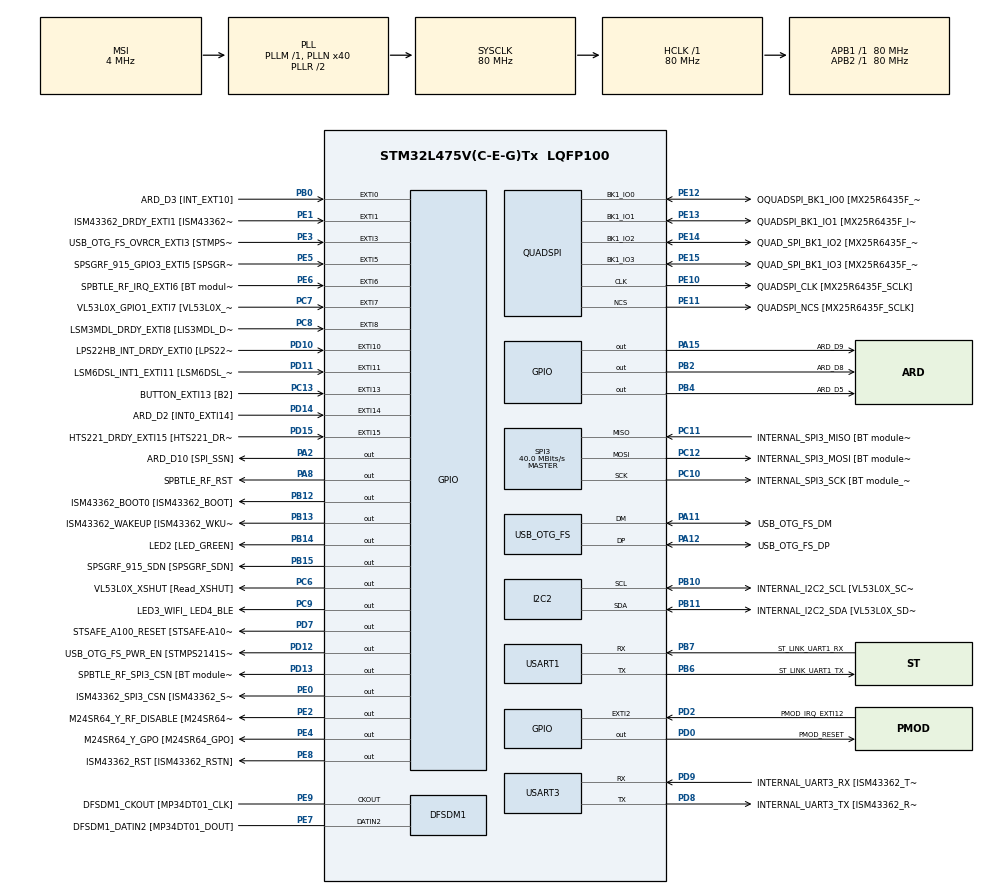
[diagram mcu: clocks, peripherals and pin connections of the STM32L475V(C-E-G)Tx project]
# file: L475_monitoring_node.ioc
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FREERTOS.Queues01=measuresQueue,3,uintptr_t,0,Dynamic,NULL,NULL;receiveQueue,3,char,0,Dynamic,NULL,NULL;printQueue,8,uintptr_t,0,Dynamic,NULL,NULL
FREERTOS.Tasks01=networkSetup,16,512,networkSetupTask,Default,NULL,Dynamic,NULL,NULL;stopWatch,40,256,stopWatchTask,Default,NULL,Dynamic,NULL,NULL;collectMeasures,32,1024,collectMeasuresTask,Default,NULL,Dynamic,NULL,NULL;MQTTPublish,8,256,MQTTPublishTask,Default,NULL,Dynamic,NULL,NULL;inputConfig,42,256,inputConfigTask,Default,NULL,Dynamic,NULL,NULL;printUART,41,128,printUARTTask,Default,NULL,Dynamic,NULL,NULL
FREERTOS.configTOTAL_HEAP_SIZE=10000
FREERTOS.configUSE_NEWLIB_REENTRANT=1
Mcu.Family=STM32L4
Mcu.Name=STM32L475V(C-E-G)Tx
Mcu.Package=LQFP100
NVIC.EXTI15_10_IRQn=true\:5\:0\:false\:false\:true\:true\:true\:true\:true
NVIC.EXTI1_IRQn=true\:5\:0\:false\:false\:true\:false\:true\:true\:true
NVIC.EXTI9_5_IRQn=true\:5\:0\:false\:false\:true\:true\:true\:true\:true
NVIC.PriorityGroup=NVIC_PRIORITYGROUP_4
NVIC.SPI3_IRQn=true\:5\:0\:false\:false\:false\:false\:true\:true\:true
NVIC.TIM6_DAC_IRQn=true\:15\:0\:false\:false\:true\:false\:false\:true\:true
NVIC.TimeBase=TIM6_DAC_IRQn
NVIC.TimeBaseIP=TIM6
NVIC.USART1_IRQn=true\:5\:0\:false\:false\:true\:true\:true\:true\:true
PA0.GPIO_Label=ARD_D1 [UART4_TX]
PA0.Signal=UART4_TX
PA1.GPIO_Label=ARD_D0 [UART4_RX]
PA1.Signal=UART4_RX
PA10.GPIO_Label=USB_OTG_FS_ID
PA10.Signal=USB_OTG_FS_ID
PA11.GPIO_Label=USB_OTG_FS_DM
PA11.Mode=Device_Only
PA11.Signal=USB_OTG_FS_DM
PA12.GPIO_Label=USB_OTG_FS_DP
PA12.Mode=Device_Only
PA12.Signal=USB_OTG_FS_DP
PA13\ (JTMS-SWDIO).GPIO_Label=SYS_JTMS_SWDIO
PA13\ (JTMS-SWDIO).Mode=Trace_Asynchronous_SW
PA13\ (JTMS-SWDIO).Signal=SYS_JTMS-SWDIO
PA14\ (JTCK-SWCLK).GPIO_Label=SYS_JTCK_SWCLK
PA14\ (JTCK-SWCLK).Mode=Trace_Asynchronous_SW
PA14\ (JTCK-SWCLK).Signal=SYS_JTCK-SWCLK
PA15\ (JTDI).GPIO_Label=ARD_D9
PA15\ (JTDI).Signal=GPIO_Output
PA2.GPIO_Label=ARD_D10 [SPI_SSN]
PA2.Signal=GPIO_Output
PA3.GPIO_Label=ARD_D4
PA3.Signal=S_TIM2_CH4
PA4.GPIO_Label=ARD_D7
PA4.Signal=ADCx_IN9
PA5.GPIO_Label=ARD_D13 [SPI1_SCK]
PA5.Signal=SPI1_SCK
PA6.GPIO_Label=ARD_D12 [SPI1_MISO]
PA6.Signal=SPI1_MISO
PA7.GPIO_Label=ARD_D11 [SPI1_MOSI]
PA7.Signal=SPI1_MOSI
PA8.GPIO_Label=SPBTLE_RF_RST
PA8.Signal=GPIO_Output
PA9.GPIO_Label=USB_OTG_FS_VBUS [STMPS2141STR_OUT]
PA9.Signal=USB_OTG_FS_VBUS
PB0.GPIO_Label=ARD_D3 [INT_EXT10]
PB0.Signal=GPXTI0
PB1.GPIO_Label=ARD_D6 [ADC1_IN6]
PB1.Signal=ADCx_IN16
PB10.GPIO_Label=INTERNAL_I2C2_SCL [VL53L0X_SCL]
PB10.GPIO_Pu=GPIO_PULLUP
PB10.Mode=I2C
PB10.Signal=I2C2_SCL
PB11.GPIO_Label=INTERNAL_I2C2_SDA [VL53L0X_SDA]
PB11.GPIO_Pu=GPIO_PULLUP
PB11.Mode=I2C
PB11.Signal=I2C2_SDA
PB12.GPIO_Label=ISM43362_BOOT0 [ISM43362_BOOT]
PB12.Signal=GPIO_Output
PB13.GPIO_Label=ISM43362_WAKEUP [ISM43362_WKUP]
PB13.Signal=GPIO_Output
PB14.GPIO_Label=LED2 [LED_GREEN]
PB14.Signal=GPIO_Output
PB15.GPIO_Label=SPSGRF_915_SDN [SPSGRF_SDN]
PB15.Signal=GPIO_Output
PB2.GPIO_Label=ARD_D8
PB2.Signal=GPIO_Output
PB3\ (JTDO-TRACESWO).GPIO_Label=SYS_JTD0_SWO
PB3\ (JTDO-TRACESWO).Mode=Trace_Asynchronous_SW
PB3\ (JTDO-TRACESWO).Signal=SYS_JTDO-SWO
PB4\ (NJTRST).GPIO_Label=ARD_D5
PB4\ (NJTRST).Signal=GPIO_Output
PB6.GPIO_Label=ST_LINK_UART1_TX
PB6.Mode=Asynchronous
PB6.Signal=USART1_TX
PB7.GPIO_Label=ST_LINK_UART1_RX
PB7.Mode=Asynchronous
PB7.Signal=USART1_RX
PB8.GPIO_Label=ARD_D15 [I2C1_SCL]
PB8.Signal=I2C1_SCL
PB9.GPIO_Label=ARD_D14 [I2C1_SDA]
PB9.Signal=I2C1_SDA
PC0.GPIO_Label=ARD_A5 [ADC]
PC0.Signal=ADCx_IN1
PC1.GPIO_Label=ARD_A4 [ADC]
PC1.Signal=ADCx_IN2
PC10.GPIO_Label=INTERNAL_SPI3_SCK [BT module_SPI_SCLK] [ISM43362_SCK]
PC10.Mode=Full_Duplex_Master
PC10.Signal=SPI3_SCK
PC11.GPIO_Label=INTERNAL_SPI3_MISO [BT module_SPI_MISO] [ISM43362_MISO]
PC11.Mode=Full_Duplex_Master
PC11.Signal=SPI3_MISO
PC12.GPIO_Label=INTERNAL_SPI3_MOSI [BT module_SPI_MOSI] [ISM43362_MOSI]
PC12.Mode=Full_Duplex_Master
PC12.Signal=SPI3_MOSI
PC13.GPIO_Label=BUTTON_EXTI13 [B2]
PC13.GPIO_ModeDefaultEXTI=GPIO_MODE_IT_FALLING
PC13.Signal=GPXTI13
PC14-OSC32_IN\ (PC14).Mode=LSE-External-Oscillator
PC14-OSC32_IN\ (PC14).Signal=RCC_OSC32_IN
PC15-OSC32_OUT\ (PC15).Mode=LSE-External-Oscillator
PC15-OSC32_OUT\ (PC15).Signal=RCC_OSC32_OUT
PC2.GPIO_Label=ARD_A3 [ADC]
PC2.Signal=ADCx_IN3
PC3.GPIO_Label=ARD_A2 [ADC]
PC3.Signal=ADCx_IN4
PC4.GPIO_Label=ARD_A1 [ADC]
PC4.Signal=ADCx_IN13
PC5.GPIO_Label=ARD_A0 [ADC]
PC5.Signal=ADCx_IN14
PC6.GPIO_Label=VL53L0X_XSHUT [Read_XSHUT]
PC6.Signal=GPIO_Output
PC7.GPIO_Label=VL53L0X_GPIO1_EXTI7 [VL53L0X_GPIO1]
PC7.Signal=GPXTI7
PC8.GPIO_Label=LSM3MDL_DRDY_EXTI8 [LIS3MDL_DRDY]
PC8.Signal=GPXTI8
PC9.GPIO_Label=LED3_WIFI_ LED4_BLE
PC9.Signal=GPIO_Output
PD0.GPIO_Label=PMOD_RESET
PD0.Signal=GPIO_Output
PD1.GPIO_Label=PMOD_SPI2_SCK
PD1.Signal=SPI2_SCK
PD10.GPIO_Label=LPS22HB_INT_DRDY_EXTI0 [LPS22HB_INT_DRDY] 
PD10.Signal=GPXTI10
PD11.GPIO_Label=LSM6DSL_INT1_EXTI11 [LSM6DSL_INT1]
PD11.Signal=GPXTI11
PD12.GPIO_Label=USB_OTG_FS_PWR_EN [STMPS2141STR_EN]
PD12.Signal=GPIO_Output
PD13.GPIO_Label=SPBTLE_RF_SPI3_CSN [BT module_SPI_CS]
PD13.PinState=GPIO_PIN_SET
PD13.Signal=GPIO_Output
PD14.GPIO_Label=ARD_D2 [INT0_EXTI14]
PD14.Signal=GPXTI14
PD15.GPIO_Label=HTS221_DRDY_EXTI15 [HTS221_DRDY]
PD15.Signal=GPXTI15
PD2.GPIO_Label=PMOD_IRQ_EXTI12
PD2.Signal=GPXTI2
PD3.GPIO_Label=PMOD_UART2_CTS
PD3.Signal=USART2_CTS
PD4.GPIO_Label=PMOD_UART2_RTS
PD4.Signal=USART2_RTS
PD5.GPIO_Label=PMOD_UART2_TX
PD5.Signal=USART2_TX
PD6.GPIO_Label=PMOD_UART2_RX
PD6.Signal=USART2_RX
PD7.GPIO_Label=STSAFE_A100_RESET [STSAFE-A100_RESET]
PD7.Signal=GPIO_Output
PD8.GPIO_Label=INTERNAL_UART3_TX [ISM43362_RX]
PD8.Mode=Asynchronous
PD8.Signal=USART3_TX
PD9.GPIO_Label=INTERNAL_UART3_RX [ISM43362_TX]
PD9.Mode=Asynchronous
PD9.Signal=USART3_RX
PE0.GPIO_Label=ISM43362_SPI3_CSN [ISM43362_SSN]
PE0.PinState=GPIO_PIN_SET
PE0.Signal=GPIO_Output
PE1.GPIO_Label=ISM43362_DRDY_EXTI1 [ISM43362_DATARDY]
PE1.Signal=GPXTI1
PE10.GPIO_Label=QUADSPI_CLK [MX25R6435F_SCLK]
PE10.Mode=Single Bank
PE10.Signal=QUADSPI_CLK
PE11.GPIO_Label=QUADSPI_NCS [MX25R6435F_SCLK]
PE11.Mode=Single Bank
PE11.Signal=QUADSPI_NCS
PE12.GPIO_Label=OQUADSPI_BK1_IO0 [MX25R6435F_IO0]
PE12.Mode=Single Bank
PE12.Signal=QUADSPI_BK1_IO0
PE13.GPIO_Label=QUADSPI_BK1_IO1 [MX25R6435F_IO1]
PE13.Mode=Single Bank
PE13.Signal=QUADSPI_BK1_IO1
PE14.GPIO_Label=QUAD_SPI_BK1_IO2 [MX25R6435F_IO2]
PE14.Mode=Single Bank
PE14.Signal=QUADSPI_BK1_IO2
PE15.GPIO_Label=QUAD_SPI_BK1_IO3 [MX25R6435F_IO3]
PE15.Mode=Single Bank
PE15.Signal=QUADSPI_BK1_IO3
PE2.GPIO_Label=M24SR64_Y_RF_DISABLE [M24SR64_RFDIS]
PE2.Signal=GPIO_Output
PE3.GPIO_Label=USB_OTG_FS_OVRCR_EXTI3 [STMPS2141STR_FAULT]
PE3.Signal=GPXTI3
PE4.GPIO_Label=M24SR64_Y_GPO [M24SR64_GPO]
PE4.Signal=GPIO_Output
PE5.GPIO_Label=SPSGRF_915_GPIO3_EXTI5 [SPSGRF_GPIO_3]
PE5.Signal=GPXTI5
PE6.GPIO_Label=SPBTLE_RF_IRQ_EXTI6 [BT module_SPI_IRQ]
PE6.Signal=GPXTI6
PE7.GPIO_Label=DFSDM1_DATIN2 [MP34DT01_DOUT]
PE7.Signal=S_DATAIN2DFSDM1
PE8.GPIO_Label=ISM43362_RST [ISM43362_RSTN]
PE8.Signal=GPIO_Output
PE9.GPIO_Label=DFSDM1_CKOUT [MP34DT01_CLK]
PE9.Signal=S_CKOUTDFSDM1
ProjectManager.HeapSize=0x200
ProjectManager.StackSize=0x400
ProjectManager.TargetToolchain=STM32CubeIDE
QUADSPI.ClockPrescaler=2
QUADSPI.FifoThreshold=4
QUADSPI.FlashSize=23
QUADSPI.SampleShifting=QSPI_SAMPLE_SHIFTING_HALFCYCLE
RCC.ADCFreq_Value=48000000
RCC.AHBFreq_Value=80000000
RCC.APB1Freq_Value=80000000
RCC.APB1TimFreq_Value=80000000
RCC.APB2Freq_Value=80000000
RCC.APB2TimFreq_Value=80000000
RCC.CortexFreq_Value=80000000
RCC.HCLKFreq_Value=80000000
RCC.HSE_VALUE=8000000
RCC.HSI_VALUE=16000000
RCC.MSI_VALUE=4000000
RCC.PLLN=40
RCC.PLLSAI1N=24
RCC.SYSCLKFreq_VALUE=80000000
RCC.SYSCLKSource=RCC_SYSCLKSOURCE_PLLCLK
RCC.USBFreq_Value=48000000
RCC.VCOOutputFreq_Value=160000000
RTC.Format=RTC_FORMAT_BIN
RTC.Hours=12
RTC.Minutes=30
RTC.Seconds=35
SH.ADCx_IN1.0=ADC1_IN1
SH.ADCx_IN13.0=ADC1_IN13
SH.ADCx_IN14.0=ADC1_IN14
SH.ADCx_IN16.0=ADC1_IN16
SH.ADCx_IN2.0=ADC1_IN2
SH.ADCx_IN3.0=ADC1_IN3
SH.ADCx_IN4.0=ADC1_IN4
SH.ADCx_IN9.0=ADC1_IN9
SH.S_CKOUTDFSDM1.0=DFSDM1_CKOUT,CKOUT
SH.S_CKOUTDFSDM1.1=DFSDM1_CKOUT,PDM_SPI_Input_from_ch12_and_Internal_Clock
SH.S_DATAIN2DFSDM1.0=DFSDM1_DATIN2,PDM_SPI_Input_from_ch12_and_Internal_Clock
SH.S_TIM2_CH4.0=TIM2_CH4
SPI3.CalculateBaudRate=40.0 MBits/s
SPI3.Direction=SPI_DIRECTION_2LINES
SPI3.Mode=SPI_MODE_MASTER
SPI3.VirtualType=VM_MASTER
USART1.VirtualMode-Asynchronous=VM_ASYNC
USART3.VirtualMode-Asynchronous=VM_ASYNC
USB_OTG_FS.VirtualMode=Device_Only
VP_FREERTOS_VS_CMSIS_V2.Mode=CMSIS_V2
VP_RTC_VS_RTC_Activate.Mode=RTC_Enabled
VP_RTC_VS_RTC_Calendar.Mode=RTC_Calendar
VP_SYS_VS_tim6.Mode=TIM6
board=B-L475E-IOT01A2

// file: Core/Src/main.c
/* USER CODE BEGIN Header */
/**
  ******************************************************************************
  * @file           : main.c
  * @brief          : Main program body
  ******************************************************************************
  * @attention
  *
  * Copyright (c) 2023 STMicroelectronics.
  * All rights reserved.
  *
  * This software is licensed under terms that can be found in the LICENSE file
  * in the root directory of this software component.
  * If no LICENSE file comes with this software, it is provided AS-IS.
  *
  ******************************************************************************
  */
/* USER CODE END Header */
#include "main.h"
#include "cmsis_os.h"

/* USER CODE BEGIN Includes */
#include "stdio.h"
#include "es_wifi.h"
#include "wifi.h"
#include "mqtt_priv.h"
// Drivers
#include "stm32l475e_iot01.h"
#include "stm32l475e_iot01_accelero.h"
#include "stm32l475e_iot01_gyro.h"
#include "stm32l475e_iot01_hsensor.h"
#include "stm32l475e_iot01_tsensor.h"
// Otros
#include <math.h>
#include <string.h>

/* USER CODE END Includes */

/* USER CODE BEGIN PM */
#define SSID     "DIGIFIBRA-HAeH"
#define PASSWORD "uxHXKubx5D"
#define WIFISECURITY WIFI_ECN_WPA2_PSK
#define SOCKET 0
#define WIFI_WRITE_TIMEOUT 10
#define WIFI_READ_TIMEOUT 10
/* USER CODE END PM */

DFSDM_Channel_HandleTypeDef hdfsdm1_channel1;

I2C_HandleTypeDef hi2c2;

QSPI_HandleTypeDef hqspi;

RTC_HandleTypeDef hrtc;

SPI_HandleTypeDef hspi3;

UART_HandleTypeDef huart1;
UART_HandleTypeDef huart3;

PCD_HandleTypeDef hpcd_USB_OTG_FS;

/* Definitions for networkSetup */
osThreadId_t networkSetupHandle;
const osThreadAttr_t networkSetup_attributes = {
  .name = "networkSetup",
  .stack_size = 512 * 4,
  .priority = (osPriority_t) osPriorityBelowNormal,
};
/* Definitions for stopWatch */
osThreadId_t stopWatchHandle;
const osThreadAttr_t stopWatch_attributes = {
  .name = "stopWatch",
  .stack_size = 256 * 4,
  .priority = (osPriority_t) osPriorityHigh,
};
/* Definitions for collectMeasures */
osThreadId_t collectMeasuresHandle;
const osThreadAttr_t collectMeasures_attributes = {
  .name = "collectMeasures",
  .stack_size = 1024 * 4,
  .priority = (osPriority_t) osPriorityAboveNormal,
};
/* Definitions for MQTTPublish */
osThreadId_t MQTTPublishHandle;
const osThreadAttr_t MQTTPublish_attributes = {
  .name = "MQTTPublish",
  .stack_size = 256 * 4,
  .priority = (osPriority_t) osPriorityLow,
};
/* Definitions for inputConfig */
osThreadId_t inputConfigHandle;
const osThreadAttr_t inputConfig_attributes = {
  .name = "inputConfig",
  .stack_size = 256 * 4,
  .priority = (osPriority_t) osPriorityHigh2,
};
/* Definitions for printUART */
osThreadId_t printUARTHandle;
const osThreadAttr_t printUART_attributes = {
  .name = "printUART",
  .stack_size = 128 * 4,
  .priority = (osPriority_t) osPriorityHigh1,
};
/* Definitions for measuresQueue */
osMessageQueueId_t measuresQueueHandle;
const osMessageQueueAttr_t measuresQueue_attributes = {
  .name = "measuresQueue"
};
/* Definitions for receiveQueue */
osMessageQueueId_t receiveQueueHandle;
const osMessageQueueAttr_t receiveQueue_attributes = {
  .name = "receiveQueue"
};
/* Definitions for printQueue */
osMessageQueueId_t printQueueHandle;
const osMessageQueueAttr_t printQueue_attributes = {
  .name = "printQueue"
};
/* USER CODE BEGIN PV */
extern  SPI_HandleTypeDef hspi;
static  uint8_t  IP_Addr[4];
static uint8_t operationMode;						/* Modo de operacion: normal/alarma*/
static NetworkContext_t xNetworkContext = { 0 };
static MQTTContext_t xMQTTContext;

bool ctrlAcceleration = false; /* Controla el envío de la notificación en el callback de la interrupción del acelerómetro*/

uint8_t drdyPulsedCfg = 0;
uint8_t ctrlDrdy = 0;
uint8_t ctrlMaster = 0;

uint8_t rec_data;		/* Almacena el caracter recibido por UART */
RTC_DateTypeDef GetDate; 		/* Estructura para fijar/leer fecha */
RTC_TimeTypeDef GetTime;		/* Estructura para fijar/leer hora */

/* USER CODE END PV */

void SystemClock_Config(void);
static void MX_GPIO_Init(void);
static void MX_DFSDM1_Init(void);
static void MX_I2C2_Init(void);
static void MX_QUADSPI_Init(void);
static void MX_SPI3_Init(void);
static void MX_USART1_UART_Init(void);
static void MX_USART3_UART_Init(void);
static void MX_USB_OTG_FS_PCD_Init(void);
static void MX_RTC_Init(void);
void networkSetupTask(void *argument);
void stopWatchTask(void *argument);
void collectMeasuresTask(void *argument);
void MQTTPublishTask(void *argument);
void inputConfigTask(void *argument);
void printUARTTask(void *argument);

/* USER CODE BEGIN PFP */
void LSM6DSL_AccInt_Drdy(void);							/* Función para la activación de la interrupción Data Ready */
void HAL_GPIO_EXTI_Callback(uint16_t GPIO_Pin);			/* Función para el callback de la interrupción */

/* USER CODE END PFP */

/* USER CODE BEGIN 0 */
void osMessageQueuePutChecker(char *nombre_tarea, char *nombre_cola, osStatus_t estado);
void leerDatosCola(char * recibido);
uint8_t extraerNumero(char *digitos, uint8_t *rango);
void publishMeasurements(char *accel_x, char *accel_y, char *accel_z, char *humedad, char *temperatura);
void separarCadena(char *cadena, char *delimitador, char *partes[], int numPartes);
void MQTTSubTask(void);

/* USER CODE END 0 */

int main(void)
{

  /* MCU Configuration--------------------------------------------------------*/

  /* Reset of all peripherals, Initializes the Flash interface and the Systick. */
  HAL_Init();

  /* Configure the system clock */
  SystemClock_Config();

  /* Initialize all configured peripherals */
  MX_GPIO_Init();
  MX_DFSDM1_Init();
  MX_I2C2_Init();
  MX_QUADSPI_Init();
  MX_SPI3_Init();
  MX_USART1_UART_Init();
  MX_USART3_UART_Init();
  MX_USB_OTG_FS_PCD_Init();
  MX_RTC_Init();
  /* USER CODE BEGIN 2 */
  printf("****** Sistemas Ciberfisicos ****** \n\n");
  // Activamos la interrupcion UART_RECEIVE antes de arrancar el scheduler
  HAL_UART_Receive_IT(&huart1, &rec_data, 1);

  printf("----> Inicializando el sensor LSM6DSL\r\n");
  BSP_ACCELERO_Init();									        /* Inicialización del acelerómetro */
  LSM6DSL_AccInt_Drdy();										/* Configuración del acelerómetro*/
  BSP_ACCELERO_LowPower(0);										/* Deshabilitado del modo de bajo consumo*/
  printf("----> Sensor LSM6DSL inicializado\r\n");

  /* USER CODE END 2 */

  /* Init scheduler */
  osKernelInitialize();

  /* Create the queue(s) */
  /* creation of measuresQueue */
  measuresQueueHandle = osMessageQueueNew (3, sizeof(uintptr_t), &measuresQueue_attributes);

  /* creation of receiveQueue */
  receiveQueueHandle = osMessageQueueNew (3, sizeof(char), &receiveQueue_attributes);

  /* creation of printQueue */
  printQueueHandle = osMessageQueueNew (8, sizeof(uintptr_t), &printQueue_attributes);

  /* Create the thread(s) */
  /* creation of networkSetup */
  networkSetupHandle = osThreadNew(networkSetupTask, NULL, &networkSetup_attributes);

  /* creation of stopWatch */
  stopWatchHandle = osThreadNew(stopWatchTask, NULL, &stopWatch_attributes);

  /* creation of collectMeasures */
  collectMeasuresHandle = osThreadNew(collectMeasuresTask, NULL, &collectMeasures_attributes);

  /* creation of MQTTPublish */
  MQTTPublishHandle = osThreadNew(MQTTPublishTask, NULL, &MQTTPublish_attributes);

  /* creation of inputConfig */
  inputConfigHandle = osThreadNew(inputConfigTask, NULL, &inputConfig_attributes);

  /* creation of printUART */
  printUARTHandle = osThreadNew(printUARTTask, NULL, &printUART_attributes);

  /* Start scheduler */
  osKernelStart();

  /* We should never get here as control is now taken by the scheduler */
  /* Infinite loop */
  while (1)
  {

  }
}

void SystemClock_Config(void)
{
  RCC_OscInitTypeDef RCC_OscInitStruct = {0};
  RCC_ClkInitTypeDef RCC_ClkInitStruct = {0};

  /** Configure the main internal regulator output voltage
  */
  if (HAL_PWREx_ControlVoltageScaling(PWR_REGULATOR_VOLTAGE_SCALE1) != HAL_OK)
  {
    Error_Handler();
  }

  /** Configure LSE Drive Capability
  */
  HAL_PWR_EnableBkUpAccess();
  __HAL_RCC_LSEDRIVE_CONFIG(RCC_LSEDRIVE_LOW);

  /** Initializes the RCC Oscillators according to the specified parameters
  * in the RCC_OscInitTypeDef structure.
  */
  RCC_OscInitStruct.OscillatorType = RCC_OSCILLATORTYPE_LSI|RCC_OSCILLATORTYPE_LSE
                              |RCC_OSCILLATORTYPE_MSI;
  RCC_OscInitStruct.LSEState = RCC_LSE_ON;
  RCC_OscInitStruct.LSIState = RCC_LSI_ON;
  RCC_OscInitStruct.MSIState = RCC_MSI_ON;
  RCC_OscInitStruct.MSICalibrationValue = 0;
  RCC_OscInitStruct.MSIClockRange = RCC_MSIRANGE_6;
  RCC_OscInitStruct.PLL.PLLState = RCC_PLL_ON;
  RCC_OscInitStruct.PLL.PLLSource = RCC_PLLSOURCE_MSI;
  RCC_OscInitStruct.PLL.PLLM = 1;
  RCC_OscInitStruct.PLL.PLLN = 40;
  RCC_OscInitStruct.PLL.PLLP = RCC_PLLP_DIV7;
  RCC_OscInitStruct.PLL.PLLQ = RCC_PLLQ_DIV2;
  RCC_OscInitStruct.PLL.PLLR = RCC_PLLR_DIV2;
  if (HAL_RCC_OscConfig(&RCC_OscInitStruct) != HAL_OK)
  {
    Error_Handler();
  }

  /** Initializes the CPU, AHB and APB buses clocks
  */
  RCC_ClkInitStruct.ClockType = RCC_CLOCKTYPE_HCLK|RCC_CLOCKTYPE_SYSCLK
                              |RCC_CLOCKTYPE_PCLK1|RCC_CLOCKTYPE_PCLK2;
  RCC_ClkInitStruct.SYSCLKSource = RCC_SYSCLKSOURCE_PLLCLK;
  RCC_ClkInitStruct.AHBCLKDivider = RCC_SYSCLK_DIV1;
  RCC_ClkInitStruct.APB1CLKDivider = RCC_HCLK_DIV1;
  RCC_ClkInitStruct.APB2CLKDivider = RCC_HCLK_DIV1;

  if (HAL_RCC_ClockConfig(&RCC_ClkInitStruct, FLASH_LATENCY_4) != HAL_OK)
  {
    Error_Handler();
  }

  /** Enable MSI Auto calibration
  */
  HAL_RCCEx_EnableMSIPLLMode();
}

static void MX_DFSDM1_Init(void)
{

  hdfsdm1_channel1.Instance = DFSDM1_Channel1;
  hdfsdm1_channel1.Init.OutputClock.Activation = ENABLE;
  hdfsdm1_channel1.Init.OutputClock.Selection = DFSDM_CHANNEL_OUTPUT_CLOCK_SYSTEM;
  hdfsdm1_channel1.Init.OutputClock.Divider = 2;
  hdfsdm1_channel1.Init.Input.Multiplexer = DFSDM_CHANNEL_EXTERNAL_INPUTS;
  hdfsdm1_channel1.Init.Input.DataPacking = DFSDM_CHANNEL_STANDARD_MODE;
  hdfsdm1_channel1.Init.Input.Pins = DFSDM_CHANNEL_FOLLOWING_CHANNEL_PINS;
  hdfsdm1_channel1.Init.SerialInterface.Type = DFSDM_CHANNEL_SPI_RISING;
  hdfsdm1_channel1.Init.SerialInterface.SpiClock = DFSDM_CHANNEL_SPI_CLOCK_INTERNAL;
  hdfsdm1_channel1.Init.Awd.FilterOrder = DFSDM_CHANNEL_FASTSINC_ORDER;
  hdfsdm1_channel1.Init.Awd.Oversampling = 1;
  hdfsdm1_channel1.Init.Offset = 0;
  hdfsdm1_channel1.Init.RightBitShift = 0x00;
  if (HAL_DFSDM_ChannelInit(&hdfsdm1_channel1) != HAL_OK)
  {
    Error_Handler();
  }

}

static void MX_I2C2_Init(void)
{

  hi2c2.Instance = I2C2;
  hi2c2.Init.Timing = 0x00000E14;
  hi2c2.Init.OwnAddress1 = 0;
  hi2c2.Init.AddressingMode = I2C_ADDRESSINGMODE_7BIT;
  hi2c2.Init.DualAddressMode = I2C_DUALADDRESS_DISABLE;
  hi2c2.Init.OwnAddress2 = 0;
  hi2c2.Init.OwnAddress2Masks = I2C_OA2_NOMASK;
  hi2c2.Init.GeneralCallMode = I2C_GENERALCALL_DISABLE;
  hi2c2.Init.NoStretchMode = I2C_NOSTRETCH_DISABLE;
  if (HAL_I2C_Init(&hi2c2) != HAL_OK)
  {
    Error_Handler();
  }

  /** Configure Analogue filter
  */
  if (HAL_I2CEx_ConfigAnalogFilter(&hi2c2, I2C_ANALOGFILTER_ENABLE) != HAL_OK)
  {
    Error_Handler();
  }

  /** Configure Digital filter
  */
  if (HAL_I2CEx_ConfigDigitalFilter(&hi2c2, 0) != HAL_OK)
  {
    Error_Handler();
  }

}

static void MX_QUADSPI_Init(void)
{

  /* QUADSPI parameter configuration*/
  hqspi.Instance = QUADSPI;
  hqspi.Init.ClockPrescaler = 2;
  hqspi.Init.FifoThreshold = 4;
  hqspi.Init.SampleShifting = QSPI_SAMPLE_SHIFTING_HALFCYCLE;
  hqspi.Init.FlashSize = 23;
  hqspi.Init.ChipSelectHighTime = QSPI_CS_HIGH_TIME_1_CYCLE;
  hqspi.Init.ClockMode = QSPI_CLOCK_MODE_0;
  if (HAL_QSPI_Init(&hqspi) != HAL_OK)
  {
    Error_Handler();
  }

}

static void MX_RTC_Init(void)
{

  RTC_TimeTypeDef sTime = {0};
  RTC_DateTypeDef sDate = {0};

  /** Initialize RTC Only
  */
  hrtc.Instance = RTC;
  hrtc.Init.HourFormat = RTC_HOURFORMAT_24;
  hrtc.Init.AsynchPrediv = 127;
  hrtc.Init.SynchPrediv = 255;
  hrtc.Init.OutPut = RTC_OUTPUT_DISABLE;
  hrtc.Init.OutPutRemap = RTC_OUTPUT_REMAP_NONE;
  hrtc.Init.OutPutPolarity = RTC_OUTPUT_POLARITY_HIGH;
  hrtc.Init.OutPutType = RTC_OUTPUT_TYPE_OPENDRAIN;
  if (HAL_RTC_Init(&hrtc) != HAL_OK)
  {
    Error_Handler();
  }

  /** Initialize RTC and set the Time and Date
  */
  sTime.Hours = 12;
  sTime.Minutes = 30;
  sTime.Seconds = 35;
  sTime.DayLightSaving = RTC_DAYLIGHTSAVING_NONE;
  sTime.StoreOperation = RTC_STOREOPERATION_RESET;
  if (HAL_RTC_SetTime(&hrtc, &sTime, RTC_FORMAT_BIN) != HAL_OK)
  {
    Error_Handler();
  }
  sDate.WeekDay = RTC_WEEKDAY_MONDAY;
  sDate.Month = RTC_MONTH_JANUARY;
  sDate.Date = 1;
  sDate.Year = 0;

  if (HAL_RTC_SetDate(&hrtc, &sDate, RTC_FORMAT_BIN) != HAL_OK)
  {
    Error_Handler();
  }

}

static void MX_SPI3_Init(void)
{

  /* SPI3 parameter configuration*/
  hspi3.Instance = SPI3;
  hspi3.Init.Mode = SPI_MODE_MASTER;
  hspi3.Init.Direction = SPI_DIRECTION_2LINES;
  hspi3.Init.DataSize = SPI_DATASIZE_4BIT;
  hspi3.Init.CLKPolarity = SPI_POLARITY_LOW;
  hspi3.Init.CLKPhase = SPI_PHASE_1EDGE;
  hspi3.Init.NSS = SPI_NSS_SOFT;
  hspi3.Init.BaudRatePrescaler = SPI_BAUDRATEPRESCALER_2;
  hspi3.Init.FirstBit = SPI_FIRSTBIT_MSB;
  hspi3.Init.TIMode = SPI_TIMODE_DISABLE;
  hspi3.Init.CRCCalculation = SPI_CRCCALCULATION_DISABLE;
  hspi3.Init.CRCPolynomial = 7;
  hspi3.Init.CRCLength = SPI_CRC_LENGTH_DATASIZE;
  hspi3.Init.NSSPMode = SPI_NSS_PULSE_ENABLE;
  if (HAL_SPI_Init(&hspi3) != HAL_OK)
  {
    Error_Handler();
  }

}

static void MX_USART1_UART_Init(void)
{

  huart1.Instance = USART1;
  huart1.Init.BaudRate = 115200;
  huart1.Init.WordLength = UART_WORDLENGTH_8B;
  huart1.Init.StopBits = UART_STOPBITS_1;
  huart1.Init.Parity = UART_PARITY_NONE;
  huart1.Init.Mode = UART_MODE_TX_RX;
  huart1.Init.HwFlowCtl = UART_HWCONTROL_NONE;
  huart1.Init.OverSampling = UART_OVERSAMPLING_16;
  huart1.Init.OneBitSampling = UART_ONE_BIT_SAMPLE_DISABLE;
  huart1.AdvancedInit.AdvFeatureInit = UART_ADVFEATURE_NO_INIT;
  if (HAL_UART_Init(&huart1) != HAL_OK)
  {
    Error_Handler();
  }

}

static void MX_USART3_UART_Init(void)
{

  huart3.Instance = USART3;
  huart3.Init.BaudRate = 115200;
  huart3.Init.WordLength = UART_WORDLENGTH_8B;
  huart3.Init.StopBits = UART_STOPBITS_1;
  huart3.Init.Parity = UART_PARITY_NONE;
  huart3.Init.Mode = UART_MODE_TX_RX;
  huart3.Init.HwFlowCtl = UART_HWCONTROL_NONE;
  huart3.Init.OverSampling = UART_OVERSAMPLING_16;
  huart3.Init.OneBitSampling = UART_ONE_BIT_SAMPLE_DISABLE;
  huart3.AdvancedInit.AdvFeatureInit = UART_ADVFEATURE_NO_INIT;
  if (HAL_UART_Init(&huart3) != HAL_OK)
  {
    Error_Handler();
  }

}

static void MX_USB_OTG_FS_PCD_Init(void)
{

  hpcd_USB_OTG_FS.Instance = USB_OTG_FS;
  hpcd_USB_OTG_FS.Init.dev_endpoints = 6;
  hpcd_USB_OTG_FS.Init.speed = PCD_SPEED_FULL;
  hpcd_USB_OTG_FS.Init.phy_itface = PCD_PHY_EMBEDDED;
  hpcd_USB_OTG_FS.Init.Sof_enable = DISABLE;
  hpcd_USB_OTG_FS.Init.low_power_enable = DISABLE;
  hpcd_USB_OTG_FS.Init.lpm_enable = DISABLE;
  hpcd_USB_OTG_FS.Init.battery_charging_enable = DISABLE;
  hpcd_USB_OTG_FS.Init.use_dedicated_ep1 = DISABLE;
  hpcd_USB_OTG_FS.Init.vbus_sensing_enable = DISABLE;
  if (HAL_PCD_Init(&hpcd_USB_OTG_FS) != HAL_OK)
  {
    Error_Handler();
  }

}

static void MX_GPIO_Init(void)
{
  GPIO_InitTypeDef GPIO_InitStruct = {0};

  /* GPIO Ports Clock Enable */
  __HAL_RCC_GPIOE_CLK_ENABLE();
  __HAL_RCC_GPIOC_CLK_ENABLE();
  __HAL_RCC_GPIOA_CLK_ENABLE();
  __HAL_RCC_GPIOB_CLK_ENABLE();
  __HAL_RCC_GPIOD_CLK_ENABLE();

  /*Configure GPIO pin Output Level */
  HAL_GPIO_WritePin(GPIOE, M24SR64_Y_RF_DISABLE_Pin|M24SR64_Y_GPO_Pin|ISM43362_RST_Pin, GPIO_PIN_RESET);

  /*Configure GPIO pin Output Level */
  HAL_GPIO_WritePin(GPIOA, ARD_D10_Pin|SPBTLE_RF_RST_Pin|ARD_D9_Pin, GPIO_PIN_RESET);

  /*Configure GPIO pin Output Level */
  HAL_GPIO_WritePin(GPIOB, ARD_D8_Pin|ISM43362_BOOT0_Pin|ISM43362_WAKEUP_Pin|LED2_Pin
                          |SPSGRF_915_SDN_Pin|ARD_D5_Pin, GPIO_PIN_RESET);

  /*Configure GPIO pin Output Level */
  HAL_GPIO_WritePin(GPIOD, USB_OTG_FS_PWR_EN_Pin|PMOD_RESET_Pin|STSAFE_A100_RESET_Pin, GPIO_PIN_RESET);

  /*Configure GPIO pin Output Level */
  HAL_GPIO_WritePin(SPBTLE_RF_SPI3_CSN_GPIO_Port, SPBTLE_RF_SPI3_CSN_Pin, GPIO_PIN_SET);

  /*Configure GPIO pin Output Level */
  HAL_GPIO_WritePin(GPIOC, VL53L0X_XSHUT_Pin|LED3_WIFI__LED4_BLE_Pin, GPIO_PIN_RESET);

  /*Configure GPIO pin Output Level */
  HAL_GPIO_WritePin(ISM43362_SPI3_CSN_GPIO_Port, ISM43362_SPI3_CSN_Pin, GPIO_PIN_SET);

  /*Configure GPIO pins : M24SR64_Y_RF_DISABLE_Pin M24SR64_Y_GPO_Pin ISM43362_RST_Pin ISM43362_SPI3_CSN_Pin */
  GPIO_InitStruct.Pin = M24SR64_Y_RF_DISABLE_Pin|M24SR64_Y_GPO_Pin|ISM43362_RST_Pin|ISM43362_SPI3_CSN_Pin;
  GPIO_InitStruct.Mode = GPIO_MODE_OUTPUT_PP;
  GPIO_InitStruct.Pull = GPIO_NOPULL;
  GPIO_InitStruct.Speed = GPIO_SPEED_FREQ_LOW;
  HAL_GPIO_Init(GPIOE, &GPIO_InitStruct);

  /*Configure GPIO pins : USB_OTG_FS_OVRCR_EXTI3_Pin SPSGRF_915_GPIO3_EXTI5_Pin SPBTLE_RF_IRQ_EXTI6_Pin ISM43362_DRDY_EXTI1_Pin */
  GPIO_InitStruct.Pin = USB_OTG_FS_OVRCR_EXTI3_Pin|SPSGRF_915_GPIO3_EXTI5_Pin|SPBTLE_RF_IRQ_EXTI6_Pin|ISM43362_DRDY_EXTI1_Pin;
  GPIO_InitStruct.Mode = GPIO_MODE_IT_RISING;
  GPIO_InitStruct.Pull = GPIO_NOPULL;
  HAL_GPIO_Init(GPIOE, &GPIO_InitStruct);

  /*Configure GPIO pin : BUTTON_EXTI13_Pin */
  GPIO_InitStruct.Pin = BUTTON_EXTI13_Pin;
  GPIO_InitStruct.Mode = GPIO_MODE_IT_FALLING;
  GPIO_InitStruct.Pull = GPIO_NOPULL;
  HAL_GPIO_Init(BUTTON_EXTI13_GPIO_Port, &GPIO_InitStruct);

  /*Configure GPIO pins : ARD_A5_Pin ARD_A4_Pin ARD_A3_Pin ARD_A2_Pin
                           ARD_A1_Pin ARD_A0_Pin */
  GPIO_InitStruct.Pin = ARD_A5_Pin|ARD_A4_Pin|ARD_A3_Pin|ARD_A2_Pin
                          |ARD_A1_Pin|ARD_A0_Pin;
  GPIO_InitStruct.Mode = GPIO_MODE_ANALOG_ADC_CONTROL;
  GPIO_InitStruct.Pull = GPIO_NOPULL;
  HAL_GPIO_Init(GPIOC, &GPIO_InitStruct);

  /*Configure GPIO pins : ARD_D1_Pin ARD_D0_Pin */
  GPIO_InitStruct.Pin = ARD_D1_Pin|ARD_D0_Pin;
  GPIO_InitStruct.Mode = GPIO_MODE_AF_PP;
  GPIO_InitStruct.Pull = GPIO_NOPULL;
  GPIO_InitStruct.Speed = GPIO_SPEED_FREQ_VERY_HIGH;
  GPIO_InitStruct.Alternate = GPIO_AF8_UART4;
  HAL_GPIO_Init(GPIOA, &GPIO_InitStruct);

  /*Configure GPIO pins : ARD_D10_Pin SPBTLE_RF_RST_Pin ARD_D9_Pin */
  GPIO_InitStruct.Pin = ARD_D10_Pin|SPBTLE_RF_RST_Pin|ARD_D9_Pin;
  GPIO_InitStruct.Mode = GPIO_MODE_OUTPUT_PP;
  GPIO_InitStruct.Pull = GPIO_NOPULL;
  GPIO_InitStruct.Speed = GPIO_SPEED_FREQ_LOW;
  HAL_GPIO_Init(GPIOA, &GPIO_InitStruct);

  /*Configure GPIO pin : ARD_D4_Pin */
  GPIO_InitStruct.Pin = ARD_D4_Pin;
  GPIO_InitStruct.Mode = GPIO_MODE_AF_PP;
  GPIO_InitStruct.Pull = GPIO_NOPULL;
  GPIO_InitStruct.Speed = GPIO_SPEED_FREQ_LOW;
  GPIO_InitStruct.Alternate = GPIO_AF1_TIM2;
  HAL_GPIO_Init(ARD_D4_GPIO_Port, &GPIO_InitStruct);

  /*Configure GPIO pin : ARD_D7_Pin */
  GPIO_InitStruct.Pin = ARD_D7_Pin;
  GPIO_InitStruct.Mode = GPIO_MODE_ANALOG_ADC_CONTROL;
  GPIO_InitStruct.Pull = GPIO_NOPULL;
  HAL_GPIO_Init(ARD_D7_GPIO_Port, &GPIO_InitStruct);

  /*Configure GPIO pins : ARD_D13_Pin ARD_D12_Pin ARD_D11_Pin */
  GPIO_InitStruct.Pin = ARD_D13_Pin|ARD_D12_Pin|ARD_D11_Pin;
  GPIO_InitStruct.Mode = GPIO_MODE_AF_PP;
  GPIO_InitStruct.Pull = GPIO_NOPULL;
  GPIO_InitStruct.Speed = GPIO_SPEED_FREQ_VERY_HIGH;
  GPIO_InitStruct.Alternate = GPIO_AF5_SPI1;
  HAL_GPIO_Init(GPIOA, &GPIO_InitStruct);

  /*Configure GPIO pin : ARD_D3_Pin */
  GPIO_InitStruct.Pin = ARD_D3_Pin;
  GPIO_InitStruct.Mode = GPIO_MODE_IT_RISING;
  GPIO_InitStruct.Pull = GPIO_NOPULL;
  HAL_GPIO_Init(ARD_D3_GPIO_Port, &GPIO_InitStruct);

  /*Configure GPIO pin : ARD_D6_Pin */
  GPIO_InitStruct.Pin = ARD_D6_Pin;
  GPIO_InitStruct.Mode = GPIO_MODE_ANALOG_ADC_CONTROL;
  GPIO_InitStruct.Pull = GPIO_NOPULL;
  HAL_GPIO_Init(ARD_D6_GPIO_Port, &GPIO_InitStruct);

  /*Configure GPIO pins : ARD_D8_Pin ISM43362_BOOT0_Pin ISM43362_WAKEUP_Pin LED2_Pin
                           SPSGRF_915_SDN_Pin ARD_D5_Pin */
  GPIO_InitStruct.Pin = ARD_D8_Pin|ISM43362_BOOT0_Pin|ISM43362_WAKEUP_Pin|LED2_Pin
                          |SPSGRF_915_SDN_Pin|ARD_D5_Pin;
  GPIO_InitStruct.Mode = GPIO_MODE_OUTPUT_PP;
  GPIO_InitStruct.Pull = GPIO_NOPULL;
  GPIO_InitStruct.Speed = GPIO_SPEED_FREQ_LOW;
  HAL_GPIO_Init(GPIOB, &GPIO_InitStruct);

  /*Configure GPIO pins : LPS22HB_INT_DRDY_EXTI0_Pin LSM6DSL_INT1_EXTI11_Pin ARD_D2_Pin HTS221_DRDY_EXTI15_Pin
                           PMOD_IRQ_EXTI12_Pin */
  GPIO_InitStruct.Pin = LPS22HB_INT_DRDY_EXTI0_Pin|LSM6DSL_INT1_EXTI11_Pin|ARD_D2_Pin|HTS221_DRDY_EXTI15_Pin
                          |PMOD_IRQ_EXTI12_Pin;
  GPIO_InitStruct.Mode = GPIO_MODE_IT_RISING;
  GPIO_InitStruct.Pull = GPIO_NOPULL;
  HAL_GPIO_Init(GPIOD, &GPIO_InitStruct);

  /*Configure GPIO pins : USB_OTG_FS_PWR_EN_Pin SPBTLE_RF_SPI3_CSN_Pin PMOD_RESET_Pin STSAFE_A100_RESET_Pin */
  GPIO_InitStruct.Pin = USB_OTG_FS_PWR_EN_Pin|SPBTLE_RF_SPI3_CSN_Pin|PMOD_RESET_Pin|STSAFE_A100_RESET_Pin;
  GPIO_InitStruct.Mode = GPIO_MODE_OUTPUT_PP;
  GPIO_InitStruct.Pull = GPIO_NOPULL;
  GPIO_InitStruct.Speed = GPIO_SPEED_FREQ_LOW;
  HAL_GPIO_Init(GPIOD, &GPIO_InitStruct);

  /*Configure GPIO pins : VL53L0X_XSHUT_Pin LED3_WIFI__LED4_BLE_Pin */
  GPIO_InitStruct.Pin = VL53L0X_XSHUT_Pin|LED3_WIFI__LED4_BLE_Pin;
  GPIO_InitStruct.Mode = GPIO_MODE_OUTPUT_PP;
  GPIO_InitStruct.Pull = GPIO_NOPULL;
  GPIO_InitStruct.Speed = GPIO_SPEED_FREQ_LOW;
  HAL_GPIO_Init(GPIOC, &GPIO_InitStruct);

  /*Configure GPIO pins : VL53L0X_GPIO1_EXTI7_Pin LSM3MDL_DRDY_EXTI8_Pin */
  GPIO_InitStruct.Pin = VL53L0X_GPIO1_EXTI7_Pin|LSM3MDL_DRDY_EXTI8_Pin;
  GPIO_InitStruct.Mode = GPIO_MODE_IT_RISING;
  GPIO_InitStruct.Pull = GPIO_NOPULL;
  HAL_GPIO_Init(GPIOC, &GPIO_InitStruct);

  /*Configure GPIO pin : PMOD_SPI2_SCK_Pin */
  GPIO_InitStruct.Pin = PMOD_SPI2_SCK_Pin;
  GPIO_InitStruct.Mode = GPIO_MODE_AF_PP;
  GPIO_InitStruct.Pull = GPIO_NOPULL;
  GPIO_InitStruct.Speed = GPIO_SPEED_FREQ_VERY_HIGH;
  GPIO_InitStruct.Alternate = GPIO_AF5_SPI2;
  HAL_GPIO_Init(PMOD_SPI2_SCK_GPIO_Port, &GPIO_InitStruct);

  /*Configure GPIO pins : PMOD_UART2_CTS_Pin PMOD_UART2_RTS_Pin PMOD_UART2_TX_Pin PMOD_UART2_RX_Pin */
  GPIO_InitStruct.Pin = PMOD_UART2_CTS_Pin|PMOD_UART2_RTS_Pin|PMOD_UART2_TX_Pin|PMOD_UART2_RX_Pin;
  GPIO_InitStruct.Mode = GPIO_MODE_AF_PP;
  GPIO_InitStruct.Pull = GPIO_NOPULL;
  GPIO_InitStruct.Speed = GPIO_SPEED_FREQ_VERY_HIGH;
  GPIO_InitStruct.Alternate = GPIO_AF7_USART2;
  HAL_GPIO_Init(GPIOD, &GPIO_InitStruct);

  /*Configure GPIO pins : ARD_D15_Pin ARD_D14_Pin */
  GPIO_InitStruct.Pin = ARD_D15_Pin|ARD_D14_Pin;
  GPIO_InitStruct.Mode = GPIO_MODE_AF_OD;
  GPIO_InitStruct.Pull = GPIO_NOPULL;
  GPIO_InitStruct.Speed = GPIO_SPEED_FREQ_VERY_HIGH;
  GPIO_InitStruct.Alternate = GPIO_AF4_I2C1;
  HAL_GPIO_Init(GPIOB, &GPIO_InitStruct);

  /* EXTI interrupt init*/
  HAL_NVIC_SetPriority(EXTI1_IRQn, 5, 0);
  HAL_NVIC_EnableIRQ(EXTI1_IRQn);

  HAL_NVIC_SetPriority(EXTI9_5_IRQn, 5, 0);
  HAL_NVIC_EnableIRQ(EXTI9_5_IRQn);

  HAL_NVIC_SetPriority(EXTI15_10_IRQn, 5, 0);
  HAL_NVIC_EnableIRQ(EXTI15_10_IRQn);

}

/* USER CODE BEGIN 4 */
int _write(int file, char *ptr, int len) {
	int DataIdx;
	for(DataIdx=0; DataIdx<len; DataIdx++){
		ITM_SendChar(*ptr++);
	}
	return len;
}
static int wifi_start(void) {
  uint8_t  MAC_Addr[6];

  /*Initialize and use WIFI module */
  if(WIFI_Init() ==  WIFI_STATUS_OK) {
	  printf("ES-WIFI Initialized.\n");
	  if(WIFI_GetMAC_Address(MAC_Addr, 32) == WIFI_STATUS_OK) {
		  printf("> eS-WiFi module MAC Address : %02X:%02X:%02X:%02X:%02X:%02X\n",
               MAC_Addr[0],
               MAC_Addr[1],
               MAC_Addr[2],
               MAC_Addr[3],
               MAC_Addr[4],
               MAC_Addr[5]);
	  } else {
		  printf("> ERROR : CANNOT get MAC address\n");
		  return -1;
	  }
  } else {
	  return -1;
  }
  return 0;
}
int wifi_connect(void) {

  wifi_start();

  printf("\nConnecting to %s , %s\n",SSID,PASSWORD);
  if( WIFI_Connect(SSID, PASSWORD, WIFISECURITY) == WIFI_STATUS_OK) {
	  if(WIFI_GetIP_Address(IP_Addr, 32) == WIFI_STATUS_OK) {
		  printf("> es-wifi module connected: got IP Address : %d.%d.%d.%d\n",
               IP_Addr[0],
               IP_Addr[1],
               IP_Addr[2],
               IP_Addr[3]);
	  } else {
		  printf(" ERROR : es-wifi module CANNOT get IP address\n");
		  return -1;
	  }
  } else {
	  printf("ERROR : es-wifi module NOT connected\n");
	  return -1;
  }
  return 0;
}

void MQTTSubTask(void) {
	TransportStatus_t xNetworkStatus;
	/* Conexión al broker específico */
	xNetworkStatus = prvConnectToServer( &xNetworkContext );
	configASSERT( xNetworkStatus == PLAINTEXT_TRANSPORT_SUCCESS );
	prvCreateMQTTConnectionWithBroker( &xMQTTContext, &xNetworkContext );
	/* Subscripción a los diferentes canales. */
	prvMQTTSubscribeToTopic(&xMQTTContext, topicModoOperacion);
	for( ; ; ) {
		  if (xNetworkContext.socket_open == 0){
			  break;
		  }
	 	MQTT_ProcessLoop(&xMQTTContext); /* Comprueba nuevos mensajes cada segundo */
		osDelay(pdMS_TO_TICKS(1000));
	}
}

void separarCadena(char *cadena, char *delimitador, char *partes[], int numPartes) {
    char *token = strtok(cadena, delimitador);

    int i = 0;
    while (token != NULL && i < numPartes) {
        partes[i] = token;
        // printf("Parte %d = %.*s \r\n", i, strlen(partes[i]),(char *) partes[i]);
        i++;
        token = strtok(NULL, delimitador);
    }
}

void publishMeasurements(char *accel_x, char *accel_y, char *accel_z, char *humedad, char *temperatura) {
    char payload[256];
    char *template = "{\"aceleraciones\":{\"value\":1,\"context\":{\"accel_x\":%s,\"accel_y\":%s,\"accel_z\":%s}},\"humedad\":%s,\"temperatura\":%s}";
    sprintf(payload, template, accel_x, accel_y, accel_z, humedad, temperatura);
    printf("%s\r\n", payload);
    prvMQTTPublishToTopic(&xMQTTContext, topicGeneral, payload);
}

/* Funcion para leer de la cola de recepcion y formar el mensaje recibido por UART */
void leerDatosCola(char * recibido) {
	bool leer_cola = true;
	uint8_t num_msg_leido = 0;
	char rec;
	osStatus_t estado;

	while (leer_cola) {
		estado = osMessageQueueGet(receiveQueueHandle, &rec, NULL, pdMS_TO_TICKS(200));

		if (estado == osOK) {
			printf("[RTC_set] (%c) leido de receive_queue\r\n", rec);

			if ('\n' == rec || '\r' == rec) {
				recibido[num_msg_leido] = '\0'; // fin de string
				leer_cola = false;
			} else {
				recibido[num_msg_leido] = rec;
				num_msg_leido++;
			}
		} else if (estado == osErrorTimeout) {
			printf("[RTC_set] Timeout lectura receive_queue\r\n");
		}
	}
}

/* Funcion para extraer un número de una cadena de dígitos en formato ASCII y verificar si
 * ese número se encuentra dentro de un rango especificado. Si devuelve 255 significa que
 * el numero no es valido*/
uint8_t extraerNumero(char *digitos, uint8_t *rango) {
	int valor;

	// Cada dígito se resta por el valor ASCII del '0' (48) para obtener su valor numérico
	if (strlen(digitos) > 1)
		valor = (((digitos[0] - 48) * 10) + (digitos[1] - 48));
	else
		valor = digitos[0] - 48;

	// Se verifica si el número se encuentra dentro del rando admisible
	if (valor < rango[0] || valor > rango[1])
		valor = 255; // Si devuelve 255 significa que el numero no es valido
	return valor;
}

/* Comprobacion escritura en cola*/
void osMessageQueuePutChecker(char *nombre_tarea, char *nombre_cola, osStatus_t estado) {
	if (estado == osOK)
		printf("[%s] Msg enviado a %s\r\n", nombre_tarea, nombre_cola);
	else if (estado == osErrorTimeout)
		printf("[%s] Timeout put %s agotado\r\n", nombre_tarea, nombre_cola);
}

/**/
void MQTTSubscribeCallback(char topic[128], char content[128]) {
	if (strcmp(topic, topicModoOperacion) == 0) {
		if (strcmp(content, MODO_NORMAL) == 0)
			operationMode = MODO_NORMAL_COD;
		else if (strcmp(content, MODO_ALARMA) == 0)
			operationMode = MODO_ALARMA_COD;
	}
}

/**
  * @brief  EXTI line detection callback.
  * @param  GPIO_Pin: Specifies the port pin connected to corresponding EXTI line.
  * @retval None
  */
void HAL_GPIO_EXTI_Callback(uint16_t GPIO_Pin) {
	switch (GPIO_Pin) {
		case (GPIO_PIN_1): {
			SPI_WIFI_ISR();
			break;
		}
		case (LSM6DSL_INT1_EXTI11_Pin): { /* Comprobación del Pin de Interrupción --> INT1, buscar en main.h */
			if (ctrlAcceleration == 1)
				osThreadFlagsSet(collectMeasuresHandle, 0x0002U);
			break;
		}
		default: {
			break;
		}
	}
}

/* Interrupcion callback UART */
void HAL_UART_RxCpltCallback(UART_HandleTypeDef *huart) {

	osStatus_t estado;
	char dato = (char) rec_data;

	if (huart == &huart1) {

		printf("[UART_IT] Recibido un caracter: %c\r\n", rec_data);

		// Enviar mensaje a la cola de recepcion
		estado = osMessageQueuePut(receiveQueueHandle, &dato, 0, 0);

		if (estado == osOK) {
			printf("[UART_IT] Put (%c) en receive_queue\r\n", dato);

			if (rec_data == '\r' || rec_data == '\n') {
				// Envia notificacion a RTC_set si el caracter implica finalizacion de linea
				osThreadFlagsSet(inputConfigHandle, 0x0004U);
				printf("[UART_IT] Notificacion flag 4 a RTC_set\r\n");
			}

		} else if (estado == osErrorResource) {
			printf("[UART_IT] Overflow en receive_queue\r\n");
			// Envia notificacion a RTC_set si no se ha podido añadir a la cola (overflow)
			osThreadFlagsSet(inputConfigHandle, 0x0008U);
			printf("[UART_IT] Notificacion flag 8 a RTC_set\r\n");
		} else if (estado == osErrorTimeout) {
			printf("[UART_IT] Timeout put (%c) en receive_queue\r\n", dato);
		}

		// Reactivamos la interrupcion UART_RECEIVE
		HAL_UART_Receive_IT(&huart1, &rec_data, 1);
	}
}

/* Inicialización del acelerómetro */
void LSM6DSL_AccInt_Drdy(void) {

	// LEO->APLICO MASCARA->ESCRIBO

	// DRDY_PULSE_CFG_G
	/* Read DRDY_PULSE_CFG_G value */
	drdyPulsedCfg = SENSOR_IO_Read(LSM6DSL_ACC_GYRO_I2C_ADDRESS_LOW, LSM6DSL_ACC_GYRO_DRDY_PULSE_CFG_G); /*Buscar en archivo lsm6dsl.h*/

	/* Set Drdy interruption to INT1  */
	drdyPulsedCfg |= 0b10000000;

	/* write back control register */
	SENSOR_IO_Write(LSM6DSL_ACC_GYRO_I2C_ADDRESS_LOW, LSM6DSL_ACC_GYRO_DRDY_PULSE_CFG_G, drdyPulsedCfg);

	// INT1_CTRL
	/* Read INT1_CTRL value */
	ctrlDrdy = SENSOR_IO_Read(LSM6DSL_ACC_GYRO_I2C_ADDRESS_LOW, LSM6DSL_ACC_GYRO_INT1_CTRL);

	/* Set Drdy interruption to INT1  */
	ctrlDrdy |= 0b00000001;

	/* write back control register */
	SENSOR_IO_Write(LSM6DSL_ACC_GYRO_I2C_ADDRESS_LOW, LSM6DSL_ACC_GYRO_INT1_CTRL, ctrlDrdy);

	// MASTER_CONFIG
	/* Read MASTER_CONFIG value */
	ctrlMaster = SENSOR_IO_Read(LSM6DSL_ACC_GYRO_I2C_ADDRESS_LOW, LSM6DSL_ACC_GYRO_MASTER_CONFIG);

	/* Set Drdy interruption to INT1  */
	ctrlMaster |= 0b10000000;

	/* write back control register */
	SENSOR_IO_Write(LSM6DSL_ACC_GYRO_I2C_ADDRESS_LOW, LSM6DSL_ACC_GYRO_MASTER_CONFIG, ctrlMaster);
}

/**
  * @brief  SPI3 line detection callback.
  * @param  None
  * @retval None
  */
void SPI3_IRQHandler(void) {
  HAL_SPI_IRQHandler(&hspi);
}

/* USER CODE END 4 */

void networkSetupTask(void *argument)
{
  /* USER CODE BEGIN 5 */

  /* Infinite loop */
  for(;;)
  {
	  if (xNetworkContext.socket_open == 0){
		  wifi_connect();
	  }

	  MQTTSubTask();
  }
  /* USER CODE END 5 */
}

void stopWatchTask(void *argument)
{
  /* USER CODE BEGIN stopWatchTask */
	// Modo de operacion por defecto
	operationMode = MODO_ALARMA_COD;

	// Espera a que el RTC este inicializado
	// ESPERA NOTIFICACION EN FLAG 16 (0001 0000)
	while (osThreadFlagsWait(0x0010U, osFlagsWaitAll, pdMS_TO_TICKS(20000)) != 0x0010U) {
		printf("Esperando a que se inicialice RTC\r\n");
	}

	/* Infinite loop */
	for (;;) {

		// Esperamos el tiempo de modo alarma (20 segundos)
		osDelay(pdMS_TO_TICKS((TIEMPO_MODO_ALARMA)*1000));

		// Comprobamos el modo de operacion.
		// Si modo normal, esperamos 40 segundos mas para llegar a los 60 segundos
		printf("\nMODO_OPERACION: %d\r\n", operationMode);

		if (operationMode == MODO_NORMAL_COD) {
			osDelay(pdMS_TO_TICKS((TIEMPO_MODO_NORMAL-TIEMPO_MODO_ALARMA)*1000));
		}

		// Enviamos notificacion para que comiencen las mediciones
		printf("Enviando notificacion 0x0001...\r\n");
		osThreadFlagsSet(collectMeasuresHandle, 0x0001U);

	}
  /* USER CODE END stopWatchTask */
}

void collectMeasuresTask(void *argument)
{
  /* USER CODE BEGIN collectMeasuresTask */
  uint32_t flag_state = 0U;
	osStatus_t queue_state;
	char queue_msg[100] = "";
	char *queue_msg_ptr = queue_msg; // Puntero a queue_msg

	// Inicializamos el sensor de temperatura.
	printf("----> Inicializando el sensor de temperatura\r\n");
	while (BSP_TSENSOR_Init()) {
		printf("----> Error al inicializar\r\n");
	}
	printf("----> Sensor de temperatura inicializado\r\n");

	// Inicializamos el sensor de humedad.
	printf("----> Inicializando el sensor de humedad\r\n");
	while (BSP_HSENSOR_Init()) {
		printf("----> Error al inicializar\r\n");
	}
	printf("----> Sensor de humedad inicializado\n\n");

	/* Infinite loop */
	for (;;) {

		// Espera notificación de stopWatchTask
		flag_state = osThreadFlagsWait(0x0001, osFlagsWaitAll, pdMS_TO_TICKS(80 * 1000));

		if (flag_state == osFlagsErrorTimeout)
			printf("Timeout: espera notificacion.\r\n");
		else if (flag_state == 0x0001U) {
			printf("Notificacion recibida.\r\n");

			ctrlAcceleration = true;

			// Medir tempetarura
			float temp_float = BSP_TSENSOR_ReadTemp();

			// Conversión de la temperatura a formato int
			int temp_int1 = (int) temp_float;
			float temp_frac = temp_float - temp_int1;
			int temp_int2 = trunc(temp_frac * 100);

			printf("Temperatura: %d.%02d grados.\r\n", temp_int1, temp_int2);

			// Medir humedad
			float hum_float = BSP_HSENSOR_ReadHumidity();

			// Conversión de la temperatura a formato int
			int hum_int1 = (int) hum_float;
			float hum_frac = hum_float - hum_int1;
			int hum_int2 = trunc(hum_frac * 100);

			printf("Humedad: %d.%02d%%.\r\n", hum_int1, hum_int2);

			// Medir acceleración
			int16_t pDataAccAvg[3] = {0, 0, 0};

			for (uint8_t i=0; i<10; i++) {
				uint32_t flag_acc_state = 0U;
				int16_t pDataAcc[3];

				flag_acc_state = osThreadFlagsWait(0x0002, osFlagsWaitAll, pdMS_TO_TICKS(1 * 1000));

				if (flag_acc_state == osFlagsErrorTimeout)
						printf("Timeout: espera notificacion.\r\n");
				else if (flag_acc_state == 0x0002U) {

					// Obtencion aceleracion en los 3 ejes
					BSP_ACCELERO_AccGetXYZ(pDataAcc);

					pDataAccAvg[0] += 0.1 * pDataAcc[0];
					pDataAccAvg[1] += 0.1 * pDataAcc[1];
					pDataAccAvg[2] += 0.1 * pDataAcc[2];
				}
			}

			printf("Aceleracion: Eje_X = %d, Eje_Y = %d, Eje_Z = %d, \r\n",
					pDataAccAvg[0], pDataAccAvg[1], pDataAccAvg[2]);

			ctrlAcceleration = false;

			// Añadir medidas a la cola de publicación MQTT
			// Orden: temperatura, humedad, accX, accY, accZ
			snprintf(queue_msg, 100, "%d.%02d;%d.%02d;%d;%d;%d",
					temp_int1, temp_int2,
					hum_int1, hum_int2,
					pDataAccAvg[0], pDataAccAvg[1], pDataAccAvg[2]);

			queue_state = osMessageQueuePut(measuresQueueHandle, &queue_msg_ptr, 0, pdMS_TO_TICKS(200));

			if (queue_state == osErrorTimeout)
				printf("Timeout: put cola\r\n");
			else if (queue_state == osOK)
				printf("Medidas insertadas en la cola.\r\n");
		}
	}
  /* USER CODE END collectMeasuresTask */
}

void MQTTPublishTask(void *argument)
{
  /* USER CODE BEGIN MQTTPublishTask */
	osStatus_t queue_state;
	char *rec;

	/* Infinite loop */
	for (;;) {
		char *datos_rx[3] = { NULL, NULL, NULL};
		char *temperatura = "-1";
		char *humedad="-1";
		char *accel_x="-1";
		char *accel_y="-1";
		char *accel_z="-1";
		// Obtiene medidas de la cola
		queue_state = osMessageQueueGet(measuresQueueHandle, &rec, NULL, pdMS_TO_TICKS(70 * 1000));
		if (queue_state == osErrorTimeout) {
			printf("Timeout: get cola\r\n");
		} else if (queue_state == osOK) {
			printf("Medidas obtenidadas de la cola: %s\r\n", (uint8_t*) rec);

			separarCadena(rec, ";", datos_rx, 5);
			temperatura = datos_rx[0];
			humedad = datos_rx[1];
			accel_x = datos_rx[2];
			accel_y = datos_rx[3];
			accel_z = datos_rx[4];

			publishMeasurements(accel_x, accel_y, accel_z, humedad, temperatura);
		}
	}
  /* USER CODE END MQTTPublishTask */
}

void inputConfigTask(void *argument)
{
  /* USER CODE BEGIN inputConfigTask */
	osStatus_t estado;
	uint32_t flag_rec;
	char recibido[3];
	const char *msg_hora_ok = "\r\nHora cambiada correctamente\r\n";
	const char *msg_fecha_ok = "Fecha cambiada correctamente\r\n";
	const char *msg_error = "\r\nERROR: Valor no válido\r\n";
	const char *msg_rtc1 = "\r\n\r\n========================\r\n"
			"| Configurar rtc |\r\n"
			"========================\r\n\r\n";
	const char *msg_fin = "fin";
	const char *msg[6] = { "Hora (0-23): ", "\r\nMinuto (0-59): ",
			"\r\nSegundo (0-59): ", "\r\nDía (1-31): ", "\r\nMes (1-12): ",
			"\r\nAño (0-99): " };
	uint8_t limit[6][2] = { { 0, 23 }, { 0, 59 }, { 0, 59 }, { 1, 31 },
			{ 1, 12 }, { 0, 99 } };
	uint8_t *toChange[6] = { &GetTime.Hours, &GetTime.Minutes, &GetTime.Seconds,
			&GetDate.Date, &GetDate.Month, &GetDate.Year };

	uint8_t num_msg = 0;

	/* Infinite loop */
	for (;;) {

		if (num_msg == 0) {
			// Primer mensaje
			estado = osMessageQueuePut(printQueueHandle, &msg_rtc1, 0, pdMS_TO_TICKS(200));
			osMessageQueuePutChecker("RTC_set", "print_queue", estado);
		}

		if (num_msg < 6) {
			// Mensajes de configuracion
			estado = osMessageQueuePut(printQueueHandle, &msg[num_msg], 0, pdMS_TO_TICKS(200));
			osMessageQueuePutChecker("RTC_set", "print_queue", estado);

			// ESPERA NOTIFICACION EN FLAG 4 u 8 (0000 1100)
			flag_rec = osThreadFlagsWait(0x000CU, osFlagsWaitAny, osWaitForever); // TODO: pongo timeout?

			switch (flag_rec) {
			case 0x0004U: 	// FLAG 4: se han recibido todos los datos
				// LECTURA DATO DE LA COLA
				leerDatosCola(recibido);

				// COMPROBACION DATO CORRECTO
				uint8_t to_change = extraerNumero(recibido, limit[num_msg]);
				if (to_change != 255) {
					// Si el numero es correcto, se actualiza el valor de las variables GetTime/GetDate
					*(toChange[num_msg]) = to_change;
					num_msg++;

				} else {
					// Si numero recibido no es valido se comienza de nuevo
					num_msg = 0;
					estado = osMessageQueuePut(printQueueHandle, &msg_error, 0,
							pdMS_TO_TICKS(200));
					osMessageQueuePutChecker("RTC_set", "print_queue", estado);
				}
				break;

			case 0x0008U: // FLAG 8: Overflow en la cola
				estado = osMessageQueuePut(printQueueHandle, &msg_error, 0,
						pdMS_TO_TICKS(200));
				osMessageQueuePutChecker("RTC_set", "print_queue", estado);
				num_msg = 0;
				// Se resetea la cola de recepcion para comenzar de nuevo
				osMessageQueueReset(receiveQueueHandle);
				break;

			default:
				break;
			}
		} else if (num_msg == 6) {
			// FECHA Y HORA CORRECTAS
			estado = osMessageQueuePut(printQueueHandle, &msg_hora_ok, 0, pdMS_TO_TICKS(200));
			osMessageQueuePutChecker("RTC_set", "print_queue", estado);
			estado = osMessageQueuePut(printQueueHandle, &msg_fecha_ok, 0, pdMS_TO_TICKS(200));
			osMessageQueuePutChecker("RTC_set", "print_queue", estado);

			// Fija fecha y hora de RTC
			HAL_RTC_SetTime(&hrtc, &GetTime, RTC_FORMAT_BIN);
			HAL_RTC_SetDate(&hrtc, &GetDate, RTC_FORMAT_BIN);

			// Se envía notificación a la tarea stopWatch para que comience a muestrear la temperatura
			osThreadFlagsSet(stopWatchHandle, 0x0010U);
			printf("[RTC_set] Notificacion flag 0 a temp_task\r\n");

			estado = osMessageQueuePut(printQueueHandle, &msg_fin, 0, pdMS_TO_TICKS(200));
			osMessageQueuePutChecker("RTC_set", "print_queue", estado);

			// Tarea se suspende a sí misma para no solicitar otra vez fecha/hora
			printf("[RTC_set] Tarea se suspende a si misma\r\n");
			osThreadSuspend(inputConfigHandle);
			osThreadSuspend(inputConfigHandle);
		}
	}
  /* USER CODE END inputConfigTask */
}

void printUARTTask(void *argument)
{
  /* USER CODE BEGIN printUARTTask */
	osStatus_t estado;
	char *rec;
	char msg[100] = "";

	/* Infinite loop */
	for (;;) {
		estado = osMessageQueueGet(printQueueHandle, &rec, NULL,0);

		if (estado == osOK) {
			if (strcmp("fin", rec) == 0){
				osThreadSuspend(printUARTHandle);
			}
			HAL_UART_Transmit(&huart1, (uint8_t*) rec, strlen(rec), 1000);

		} else if (estado == osErrorTimeout) {
			snprintf(msg, 100, "Timeout lectura print_queue\r\n");

			HAL_UART_Transmit(&huart1, (uint8_t*) msg, sizeof(msg), 1000);
		}
	}
  /* USER CODE END printUARTTask */
}

void HAL_TIM_PeriodElapsedCallback(TIM_HandleTypeDef *htim)
{
  if (htim->Instance == TIM6) {
    HAL_IncTick();
  }
}

void Error_Handler(void)
{
  __disable_irq();
  while (1)
  {
  }
}
